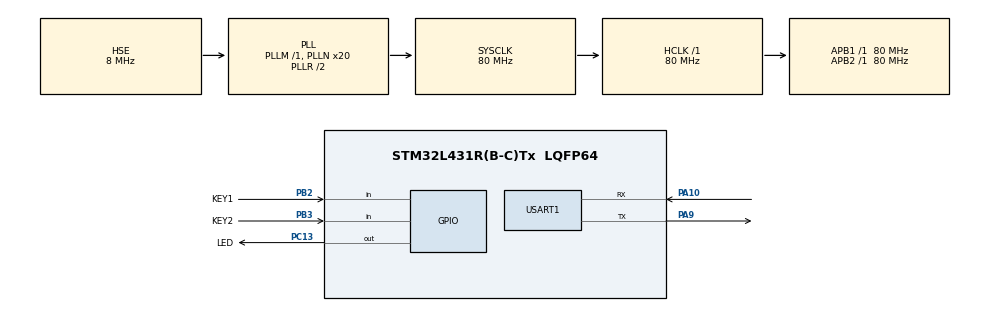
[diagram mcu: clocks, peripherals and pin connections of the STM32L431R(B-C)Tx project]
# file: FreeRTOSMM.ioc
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FREERTOS.Tasks01=LED_TASK,0,128,LEDTask,Default,NULL,Dynamic,NULL,NULL;Test_Task,-3,128,TestTask,Default,NULL,Dynamic,NULL,NULL
Mcu.Family=STM32L4
Mcu.Name=STM32L431R(B-C)Tx
Mcu.Package=LQFP64
NVIC.PriorityGroup=NVIC_PRIORITYGROUP_4
NVIC.TIM1_UP_TIM16_IRQn=true\:0\:0\:false\:false\:true\:false\:false\:true
NVIC.TimeBase=TIM1_UP_TIM16_IRQn
NVIC.TimeBaseIP=TIM1
PA10.Mode=Asynchronous
PA10.Signal=USART1_RX
PA9.Mode=Asynchronous
PA9.Signal=USART1_TX
PB2.GPIO_Label=KEY1
PB2.GPIO_PuPd=GPIO_PULLUP
PB2.Signal=GPIO_Input
PB3\ (JTDO-TRACESWO).GPIO_Label=KEY2
PB3\ (JTDO-TRACESWO).GPIO_PuPd=GPIO_PULLUP
PB3\ (JTDO-TRACESWO).Signal=GPIO_Input
PC13.GPIO_Label=LED
PC13.Signal=GPIO_Output
PC14-OSC32_IN\ (PC14).Mode=LSE-External-Oscillator
PC14-OSC32_IN\ (PC14).Signal=RCC_OSC32_IN
PC15-OSC32_OUT\ (PC15).Mode=LSE-External-Oscillator
PC15-OSC32_OUT\ (PC15).Signal=RCC_OSC32_OUT
PH0-OSC_IN\ (PH0).Mode=HSE-External-Oscillator
PH0-OSC_IN\ (PH0).Signal=RCC_OSC_IN
PH1-OSC_OUT\ (PH1).Mode=HSE-External-Oscillator
PH1-OSC_OUT\ (PH1).Signal=RCC_OSC_OUT
ProjectManager.HeapSize=0x200
ProjectManager.StackSize=0x400
ProjectManager.TargetToolchain=SW4STM32
RCC.ADCFreq_Value=32000000
RCC.AHBFreq_Value=80000000
RCC.APB1Freq_Value=80000000
RCC.APB1TimFreq_Value=80000000
RCC.APB2Freq_Value=80000000
RCC.APB2TimFreq_Value=80000000
RCC.CortexFreq_Value=80000000
RCC.HCLKFreq_Value=80000000
RCC.HSE_VALUE=8000000
RCC.HSI48_VALUE=48000000
RCC.HSI_VALUE=16000000
RCC.MSI_VALUE=4000000
RCC.PLLN=20
RCC.PLLSourceVirtual=RCC_PLLSOURCE_HSE
RCC.SYSCLKFreq_VALUE=80000000
RCC.SYSCLKSource=RCC_SYSCLKSOURCE_PLLCLK
RCC.VCOOutputFreq_Value=160000000
USART1.VirtualMode-Asynchronous=VM_ASYNC
VP_FREERTOS_VS_CMSIS_V1.Mode=CMSIS_V1
VP_SYS_VS_tim1.Mode=TIM1
board=custom

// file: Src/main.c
/* USER CODE BEGIN Header */
/**
  ******************************************************************************
  * @file           : main.c
  * @brief          : Main program body
  ******************************************************************************
  * @attention
  *
  * <h2><center>&copy; Copyright (c) 2020 STMicroelectronics.
  * All rights reserved.</center></h2>
  *
  * This software component is licensed by ST under Ultimate Liberty license
  * SLA0044, the "License"; You may not use this file except in compliance with
  * the License. You may obtain a copy of the License at:
  *                             www.st.com/SLA0044
  *
  ******************************************************************************
  */
/* USER CODE END Header */

#include "main.h"
#include "cmsis_os.h"

/* USER CODE BEGIN Includes */
#include <stdio.h>
/* USER CODE END Includes */

uint8_t *Test_Ptr = NULL;
UART_HandleTypeDef huart1;

osThreadId LED_TASKHandle;
osThreadId Test_TaskHandle;
/* USER CODE BEGIN PV */

int _write(int fd, char *ptr, int len)
{
    HAL_UART_Transmit(&huart1, (uint8_t*)ptr, len, 0xFFFF);
    return len;
}

/* USER CODE END PV */

void SystemClock_Config(void);
static void MX_GPIO_Init(void);
static void MX_USART1_UART_Init(void);
void LEDTask(void const * argument);
void TestTask(void const * argument);

int main(void)
{

  /* MCU Configuration--------------------------------------------------------*/

  /* Reset of all peripherals, Initializes the Flash interface and the Systick. */
  HAL_Init();

  /* Configure the system clock */
  SystemClock_Config();

  /* Initialize all configured peripherals */
  MX_GPIO_Init();
  MX_USART1_UART_Init();
  /* USER CODE BEGIN 2 */

  printf("Memory Management test\n");

  /* USER CODE END 2 */

  /* Create the thread(s) */
  /* definition and creation of LED_TASK */
  osThreadDef(LED_TASK, LEDTask, osPriorityNormal, 0, 128);
  LED_TASKHandle = osThreadCreate(osThread(LED_TASK), NULL);

  /* definition and creation of Test_Task */
  osThreadDef(Test_Task, TestTask, osPriorityIdle, 0, 128);
  Test_TaskHandle = osThreadCreate(osThread(Test_Task), NULL);

  /* Start scheduler */
  osKernelStart();

  /* We should never get here as control is now taken by the scheduler */

  /* Infinite loop */
  while (1)
  {

  }
}

void SystemClock_Config(void)
{
  RCC_OscInitTypeDef RCC_OscInitStruct = {0};
  RCC_ClkInitTypeDef RCC_ClkInitStruct = {0};
  RCC_PeriphCLKInitTypeDef PeriphClkInit = {0};

  /** Initializes the CPU, AHB and APB busses clocks
  */
  RCC_OscInitStruct.OscillatorType = RCC_OSCILLATORTYPE_HSE;
  RCC_OscInitStruct.HSEState = RCC_HSE_ON;
  RCC_OscInitStruct.PLL.PLLState = RCC_PLL_ON;
  RCC_OscInitStruct.PLL.PLLSource = RCC_PLLSOURCE_HSE;
  RCC_OscInitStruct.PLL.PLLM = 1;
  RCC_OscInitStruct.PLL.PLLN = 20;
  RCC_OscInitStruct.PLL.PLLP = RCC_PLLP_DIV7;
  RCC_OscInitStruct.PLL.PLLQ = RCC_PLLQ_DIV2;
  RCC_OscInitStruct.PLL.PLLR = RCC_PLLR_DIV2;
  if (HAL_RCC_OscConfig(&RCC_OscInitStruct) != HAL_OK)
  {
    Error_Handler();
  }
  /** Initializes the CPU, AHB and APB busses clocks
  */
  RCC_ClkInitStruct.ClockType = RCC_CLOCKTYPE_HCLK|RCC_CLOCKTYPE_SYSCLK
                              |RCC_CLOCKTYPE_PCLK1|RCC_CLOCKTYPE_PCLK2;
  RCC_ClkInitStruct.SYSCLKSource = RCC_SYSCLKSOURCE_PLLCLK;
  RCC_ClkInitStruct.AHBCLKDivider = RCC_SYSCLK_DIV1;
  RCC_ClkInitStruct.APB1CLKDivider = RCC_HCLK_DIV1;
  RCC_ClkInitStruct.APB2CLKDivider = RCC_HCLK_DIV1;

  if (HAL_RCC_ClockConfig(&RCC_ClkInitStruct, FLASH_LATENCY_4) != HAL_OK)
  {
    Error_Handler();
  }
  PeriphClkInit.PeriphClockSelection = RCC_PERIPHCLK_USART1;
  PeriphClkInit.Usart1ClockSelection = RCC_USART1CLKSOURCE_PCLK2;
  if (HAL_RCCEx_PeriphCLKConfig(&PeriphClkInit) != HAL_OK)
  {
    Error_Handler();
  }
  /** Configure the main internal regulator output voltage
  */
  if (HAL_PWREx_ControlVoltageScaling(PWR_REGULATOR_VOLTAGE_SCALE1) != HAL_OK)
  {
    Error_Handler();
  }
}

static void MX_USART1_UART_Init(void)
{

  huart1.Instance = USART1;
  huart1.Init.BaudRate = 115200;
  huart1.Init.WordLength = UART_WORDLENGTH_8B;
  huart1.Init.StopBits = UART_STOPBITS_1;
  huart1.Init.Parity = UART_PARITY_NONE;
  huart1.Init.Mode = UART_MODE_TX_RX;
  huart1.Init.HwFlowCtl = UART_HWCONTROL_NONE;
  huart1.Init.OverSampling = UART_OVERSAMPLING_16;
  huart1.Init.OneBitSampling = UART_ONE_BIT_SAMPLE_DISABLE;
  huart1.AdvancedInit.AdvFeatureInit = UART_ADVFEATURE_NO_INIT;
  if (HAL_UART_Init(&huart1) != HAL_OK)
  {
    Error_Handler();
  }

}

static void MX_GPIO_Init(void)
{
  GPIO_InitTypeDef GPIO_InitStruct = {0};

  /* GPIO Ports Clock Enable */
  __HAL_RCC_GPIOC_CLK_ENABLE();
  __HAL_RCC_GPIOH_CLK_ENABLE();
  __HAL_RCC_GPIOB_CLK_ENABLE();
  __HAL_RCC_GPIOA_CLK_ENABLE();

  /*Configure GPIO pin Output Level */
  HAL_GPIO_WritePin(LED_GPIO_Port, LED_Pin, GPIO_PIN_RESET);

  /*Configure GPIO pin : LED_Pin */
  GPIO_InitStruct.Pin = LED_Pin;
  GPIO_InitStruct.Mode = GPIO_MODE_OUTPUT_PP;
  GPIO_InitStruct.Pull = GPIO_NOPULL;
  GPIO_InitStruct.Speed = GPIO_SPEED_FREQ_LOW;
  HAL_GPIO_Init(LED_GPIO_Port, &GPIO_InitStruct);

  /*Configure GPIO pins : KEY1_Pin KEY2_Pin */
  GPIO_InitStruct.Pin = KEY1_Pin|KEY2_Pin;
  GPIO_InitStruct.Mode = GPIO_MODE_INPUT;
  GPIO_InitStruct.Pull = GPIO_PULLUP;
  HAL_GPIO_Init(GPIOB, &GPIO_InitStruct);

}

void LEDTask(void const * argument)
{
  /* USER CODE BEGIN 5 */
  /* Infinite loop */
  for(;;)
  {
    HAL_GPIO_TogglePin(LED_GPIO_Port, LED_Pin);
    osDelay(1000);
  }
  /* USER CODE END 5 */
}

void TestTask(void const * argument)
{
  /* USER CODE BEGIN TestTask */
  uint32_t  g_memsize;
  /* Infinite loop */
  for(;;)
  {
    if(HAL_GPIO_ReadPin(KEY1_GPIO_Port, KEY1_Pin) == GPIO_PIN_RESET){
        if(NULL == Test_Ptr){
            /* 获取当前内存大小 */
            g_memsize = xPortGetFreeHeapSize();
            printf("系统当前内存大小为%d字节，开始申请内存\n", g_memsize);
            Test_Ptr = pvPortMalloc(1024);
            if(NULL != Test_Ptr){
                printf("内存申请成功\n");
                printf("申请到的内存地址为%#x\n", (int)Test_Ptr);
                /*获取当前剩余内存大小*/
                g_memsize = xPortGetFreeHeapSize();
                printf("系统当前内存剩余大小为%d字节！\n", g_memsize);
                /*向Test_Ptr中写入数据：当前系统时间*/
                sprintf((char*)Test_Ptr, "当前系统时间TickCount = %d\n", xTaskGetTickCount());
                printf("写入的数据是%s\n", (char*)Test_Ptr);
            }
        }
        else{
            printf("请先按下KEY2释放内存申请\n");
        }
    }

    if(HAL_GPIO_ReadPin(KEY2_GPIO_Port, KEY2_Pin) == GPIO_PIN_RESET){
        if(NULL != Test_Ptr){
            printf("内存释放\n");
            vPortFree(Test_Ptr);
            Test_Ptr = NULL;
            /*获取当前剩余内存大小*/
            g_memsize = xPortGetFreeHeapSize();
            printf("系统当前内存大小为%d字节，内存释放完成\n", g_memsize);
        }
        else{
            printf("请先按下KEY1申请内存再释放\n");
        }
    }
    osDelay(300);
  }
  /* USER CODE END TestTask */
}

void HAL_TIM_PeriodElapsedCallback(TIM_HandleTypeDef *htim)
{
  if (htim->Instance == TIM1) {
    HAL_IncTick();
  }
}

void Error_Handler(void)
{
}

/************************ (C) COPYRIGHT STMicroelectronics *****END OF FILE****/
